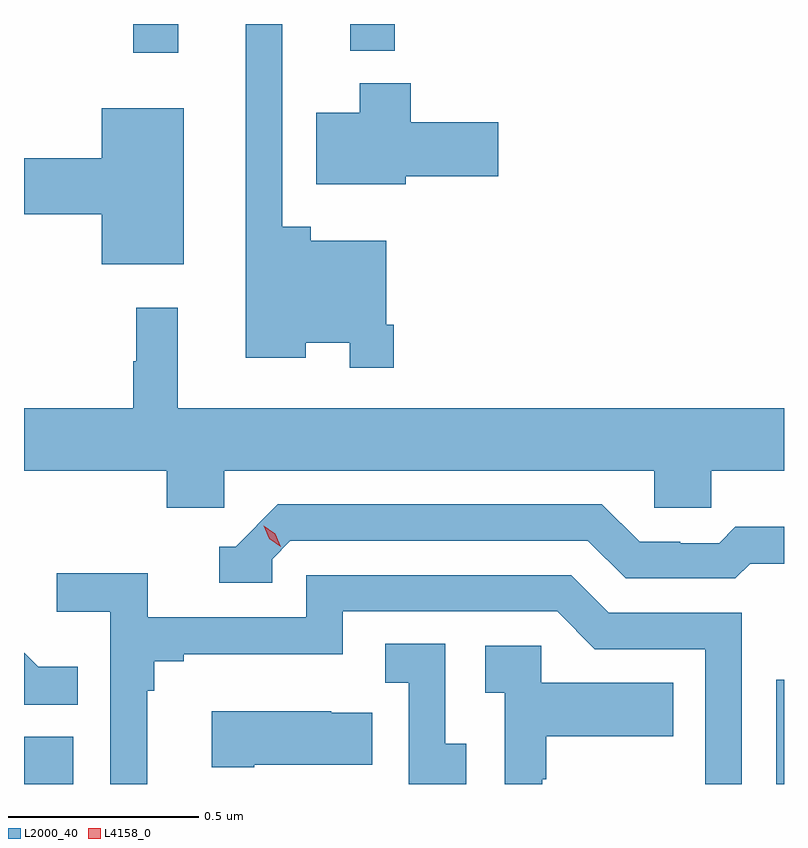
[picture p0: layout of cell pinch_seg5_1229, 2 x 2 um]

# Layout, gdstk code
import gdstk
lib = gdstk.Library(unit=1e-6, precision=1e-09)
def R(c, l, rs):  # rectangles x0, y0, x1, y1
    for r in rs: c.add(gdstk.rectangle(r[:2], r[2:], *l))
def P(c, l, *ps):  # polygons
    for p in ps: c.add(gdstk.Polygon(p, *l))
L2000_40 = (2000, 40)
L4158_0 = (4158, 0)

pinch_seg5_1229 = lib.new_cell('pinch_seg5_1229')
R(pinch_seg5_1229, L2000_40, [(856.681,843.947,856.81,844.071), (858.66,843.947,858.681,844.222), (856.969,845.871,857.087,845.947), (857.54,845.876,857.657,845.947)])
P(pinch_seg5_1229, L2000_40, [(857.654,845.155),(857.634,845.155),(857.634,845.377),(857.435,845.377),(857.435,845.413),(857.361,845.413),(857.361,845.947),(857.264,845.947),(857.264,845.069),(857.422,845.069),(857.422,845.108),(857.538,845.108),(857.538,845.043),(857.654,845.043)],
  [(857.686,845.546),(857.929,845.546),(857.929,845.688),(857.699,845.688),(857.699,845.791),(857.564,845.791),(857.564,845.713),(857.45,845.713),(857.45,845.525),(857.686,845.525)],
  [(857.101,845.725),(856.886,845.725),(856.886,845.594),(856.681,845.594),(856.681,845.447),(856.886,845.447),(856.886,845.315),(857.101,845.315)],
  [(857.208,844.772),(858.339,844.772),(858.339,844.674),(858.489,844.674),(858.489,844.772),(858.681,844.772),(858.681,844.936),(857.086,844.936),(857.086,845.2),(856.977,845.2),(856.977,845.06),(856.969,845.06),(856.969,844.936),(856.681,844.936),(856.681,844.772),(857.057,844.772),(857.057,844.674),(857.208,844.674)],
  [(857.334,844.539),(857.382,844.587),(858.165,844.587),(858.264,844.488),(858.553,844.488),(858.592,844.527),(858.681,844.527),(858.681,844.624),(858.553,844.624),(858.511,844.581),(858.408,844.581),(858.408,844.584),(858.301,844.584),(858.202,844.683),(857.349,844.683),(857.238,844.572),(857.195,844.572),(857.195,844.476),(857.334,844.476)],
  [(857.005,844.193),(857.024,844.193),(857.024,844.27),(857.101,844.27),(857.101,844.289),(857.52,844.289),(857.52,844.401),(858.084,844.401),(858.183,844.302),(858.474,844.302),(858.474,843.947),(858.57,843.947),(858.57,844.398),(858.22,844.398),(858.121,844.497),(857.424,844.497),(857.424,844.386),(857.006,844.386),(857.006,844.502),(856.767,844.502),(856.767,844.4),(856.908,844.4),(856.908,843.947),(857.005,843.947)],
  [(857.845,844.053),(857.79,844.053),(857.79,844.316),(857.631,844.316),(857.631,844.213),(857.694,844.213),(857.694,843.947),(857.845,843.947)],
  [(858.045,843.959),(858.055,843.959),(858.055,844.073),(858.389,844.073),(858.389,844.213),(858.042,844.213),(858.042,844.311),(857.895,844.311),(857.895,844.187),(857.946,844.187),(857.946,843.947),(858.045,843.947)],
  [(856.823,844.255),(856.719,844.255),(856.681,844.293),(856.681,844.156),(856.823,844.156)],
  [(857.287,843.998),(857.597,843.998),(857.597,844.135),(857.489,844.135),(857.489,844.138),(857.175,844.138),(857.175,843.991),(857.287,843.991)])
P(pinch_seg5_1229, L4158_0, [(857.357,844.572),(857.327,844.593),(857.312,844.626),(857.312,844.626),(857.312,844.626),(857.342,844.606),(857.357,844.572),(857.357,844.572)])

lib.write_gds('pinch_seg5_1229.gds')
